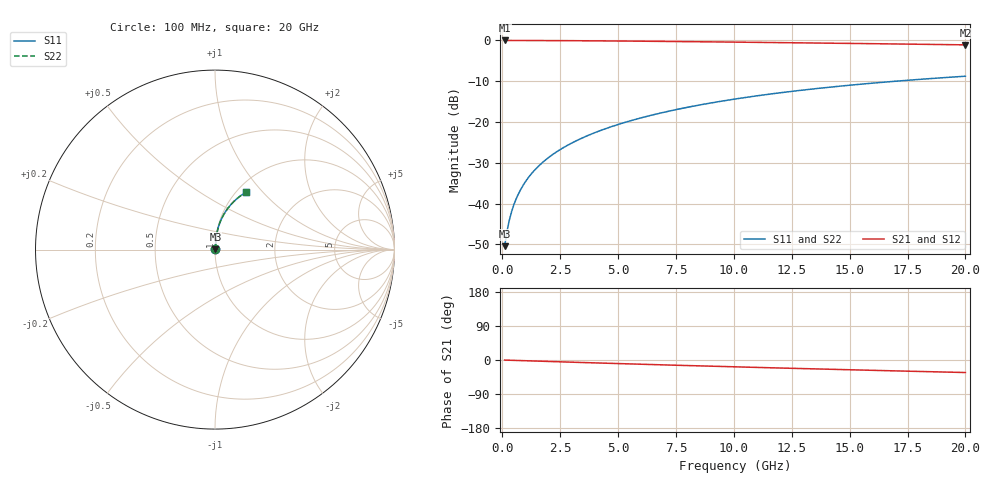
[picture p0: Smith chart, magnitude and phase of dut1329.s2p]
! Touchstone file exported from HFSS 2024.1.0
!  File:  C:/UserFiles/LocalFiles/RDL_TSV_Batchsim/temp_RDL_bottom_1329_1780369313.aedt
!  Generated:  11:04:20 AM Jun  2, 2026
!  Design:  RDL_bottom
!  Project:  temp_RDL_bottom_1329_1780369313
!  Setup:  Setup1
!  Solution:  Sweep
! Variables:
!  dtsv = 10.80580581um
!  hbump = 3um
!  htsv = 58.86um
!  ldown = 412.84um
!  lrdl = 100um
!  p = 40
!  p1 = 56.11um
!  rhole = 1um
!  t = 450um
!  tdown = 3.66um
!  trdl = 3.915915916um
!  wdown = 18.63um
!  wrdl = 20um
# GHz S MA R 50.000000
! Terminal data exported
! Port[1] = RDL1_T1
! Port[2] = RDL1_T2
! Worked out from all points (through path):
!   200 points, 100 MHz to 20 GHz, reference 50 ohm
!   highest |S21| = -0.02 dB at 100 MHz (marker M1); lowest = -1.1 dB at 20 GHz (marker M2)
!   group delay of S21, straight-line fit = 4.56 ps
!   lowest |S11| = -50.4 dB at 100 MHz (marker M3), VSWR 1.01, Z = 50.2 + j0.194 ohm
!   |S11| at or under -10 dB: start of sweep to 16.99 GHz
!   |S22| runs from -50.4 to -8.8 dB; largest |S21 - S12| = 3.5e-15
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0.1  0.003013 40.0  0.9977 -0.2  0.9977 -0.2  0.003013 40.0
! Gamma 0 0 0 0
! Port Impedance 50 0 50 0
0.2  0.004518 58.1  0.9976 -0.4  0.9976 -0.4  0.004518 58.1
0.3  0.006207 66.4  0.9975 -0.6  0.9975 -0.6  0.006207 66.4
0.4  0.007941 71.1  0.9974 -0.8  0.9974 -0.8  0.007941 71.1
0.5  0.009691 74.1  0.9972 -1.0  0.9972 -1.0  0.009691 74.1
0.6  0.01145 76.3  0.9971 -1.2  0.9971 -1.2  0.01145 76.2
0.8  0.015 79.1  0.9969 -1.6  0.9969 -1.6  0.015 79.1
1.1  0.02037 81.4  0.9964 -2.1  0.9964 -2.1  0.02037 81.4
1.5  0.02761 83.1  0.9957 -2.9  0.9957 -2.9  0.02761 83.1
1.8  0.03308 83.7  0.9951 -3.5  0.9951 -3.5  0.03308 83.7
2.1  0.03858 84.2  0.9943 -4.1  0.9943 -4.1  0.03858 84.2
2.7  0.04968 84.5  0.9925 -5.2  0.9925 -5.2  0.04968 84.5
3.5  0.06465 84.4  0.9895 -6.7  0.9895 -6.7  0.06464 84.4
4.2  0.07791 84.0  0.9864 -8.0  0.9864 -8.0  0.0779 84.0
5  0.09323 83.4  0.9825 -9.5  0.9825 -9.5  0.09322 83.4
5.9  0.1106 82.5  0.9777 -11.1  0.9777 -11.1  0.1106 82.5
6.8  0.1281 81.4  0.9726 -12.6  0.9726 -12.6  0.1281 81.4
8.4  0.1593 79.2  0.9628 -15.3  0.9628 -15.3  0.1593 79.2
10.1  0.1922 76.7  0.9519 -18.1  0.9519 -18.1  0.1921 76.7
13.4  0.2538 71.6  0.9295 -23.4  0.9295 -23.4  0.2538 71.6
16.7  0.3113 66.5  0.9059 -28.3  0.9059 -28.3  0.3113 66.5
20  0.3639 61.6  0.8815 -33.1  0.8815 -33.1  0.3638 61.6
